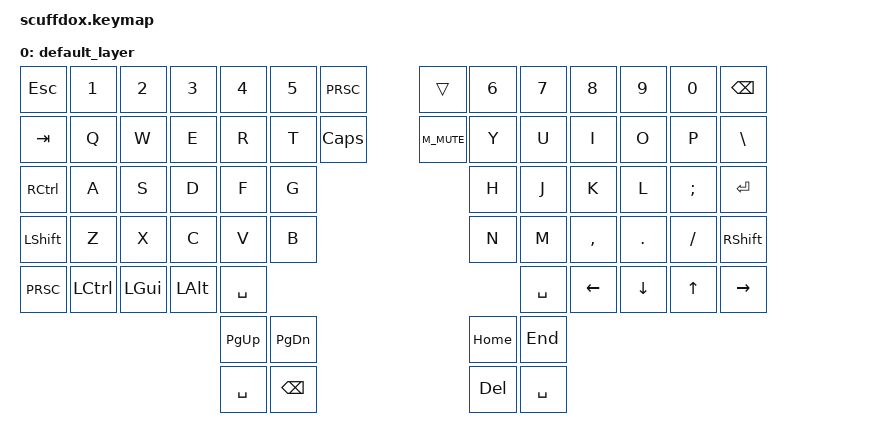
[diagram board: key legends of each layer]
/*
 * Copyright (c) 2020 The ZMK Contributors
 *
 * SPDX-License-Identifier: MIT
 */

#include <behaviors.dtsi>
#include <dt-bindings/zmk/keys.h>
#include <dt-bindings/zmk/bt.h>

/ {
	keymap {
		compatible = "zmk,keymap";
		default_layer {
			bindings = <
&kp ESC    &kp NUM_1  &kp NUM_2  &kp NUM_3  &kp NUM_4  &kp NUM_5  &kp PRSC		 		 &trans     &kp NUM_6  &kp NUM_7  &kp NUM_8  &kp NUM_9  &kp NUM_0  &kp BSPC
&kp TAB    &kp Q      &kp W      &kp E      &kp R      &kp T      &kp CLCK		 		 &kp M_MUTE &kp Y      &kp U      &kp I      &kp O      &kp P      &kp BSLH
&kp RCTRL  &kp A      &kp S      &kp D      &kp F      &kp G 		 		     		            &kp H      &kp J      &kp K      &kp L      &kp SCLN   &kp RETURN
&kp LSHFT  &kp Z      &kp X      &kp C      &kp V      &kp B 		 		     			  	    &kp N      &kp M      &kp CMMA   &kp DOT    &kp FSLH   &kp RSHFT
&kp PRSC   &kp LCTRL  &kp LGUI   &kp LALT   &kp SPACE 						     			 			       &kp SPACE  &kp LEFT   &kp DOWN   &kp UP     &kp RIGHT
		 									&kp PG_UP  &kp PG_DN		         			        &kp HOME  &kp END
											&kp SPACE  &kp BSPC 									&kp DEL &kp SPACE 	 
			>;
		};
	};
};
